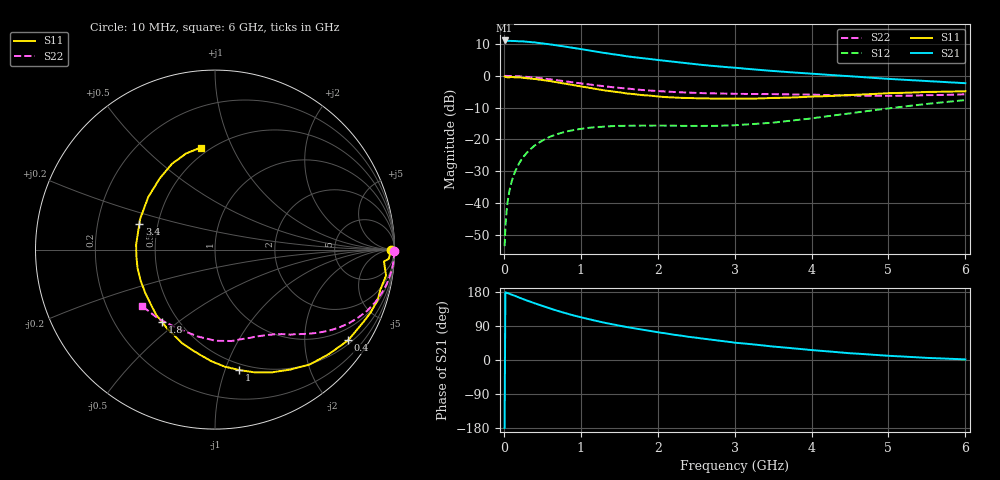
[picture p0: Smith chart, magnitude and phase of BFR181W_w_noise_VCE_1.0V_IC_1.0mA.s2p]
! Infineon Technologies  Discrete & RF Semiconductors
! BFR181W
! VCE =  1.0 V,  IC =  1.0 mA
! Common Emitter S-Parameters:  Jan 2017
# GHz  S  MA  R  50
!  f  S11  S21  S12  S22
! GHz  MAG  ANG  MAG  ANG  MAG  ANG  MAG  ANG
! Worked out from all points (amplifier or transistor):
!   77 points, 10 MHz to 6 GHz, reference 50 ohm
!   highest |S21| = 11.1 dB at 10 MHz (marker M1)
!   |S21| within 3 dB of that: start of sweep to 1.072 GHz
!   unconditionally stable (mu >= 1): 2.244 GHz to 4.932 GHz
!   at 130 MHz: K = 0.04, MSG = 21.1 dB, |S12| = -31.2 dB
!   at 2.2 GHz: K = 0.98, MSG = 10.1 dB, |S12| = -15.7 dB
!   at 6 GHz: K = 0.91, MSG = 2.7 dB, |S12| = -7.6 dB
!   lowest NFmin = 0.87 dB at 450 MHz
!   S11 on the Smith chart (normalised r, x): 10 MHz: open; 400 MHz: 0.60, -3.13; 1 GHz: 0.44, -1.12; 1.8 GHz: 0.41, -0.44; 3.4 GHz: 0.39, +0.14; 6 GHz: 0.45, +0.76
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0.01  0.981 0.0  3.609 -179.4  0.0021 85.7  1 -0.5
0.02  0.969 -3.1  3.609 178.7  0.004 93.2  1 -0.8
0.04  0.952 -3.7  3.581 177.2  0.0083 87.5  0.9985 -1.8
0.07  0.951 -5.9  3.558 174.9  0.0149 85.4  0.9964 -3.3
0.11  0.9602 -9.6  3.544 171.9  0.0235 83.9  0.9941 -5.2
0.25  0.9351 -22.1  3.491 160.8  0.0527 75.6  0.9749 -11.5
0.4  0.8973 -34.3  3.365 149.8  0.0803 67.9  0.9413 -18.0
0.6  0.8298 -50.5  3.133 136.1  0.1106 58.0  0.8832 -25.4
0.7  0.789 -57.9  3.001 129.6  0.122 54.0  0.8524 -28.7
0.8  0.7535 -65.2  2.889 123.7  0.1326 50.3  0.8216 -31.6
1  0.6837 -78.8  2.64 112.9  0.147 43.7  0.7622 -36.8
1.1  0.6536 -85.4  2.523 108.0  0.1525 41.3  0.7371 -38.9
1.4  0.572 -103.3  2.208 94.7  0.162 34.9  0.6669 -44.9
1.6  0.5294 -115.2  2.031 86.9  0.1644 32.4  0.6345 -48.3
1.8  0.4987 -126.3  1.904 80.0  0.1653 30.6  0.6004 -51.6
2.1  0.4647 -142.4  1.726 70.3  0.1651 30.0  0.5686 -56.4
2.4  0.4492 -157.4  1.572 61.3  0.1635 30.7  0.546 -61.6
3.1  0.4386 172.5  1.312 43.9  0.1706 38.1  0.5212 -72.9
3.4  0.4451 161.3  1.222 37.8  0.1804 42.2  0.5176 -78.1
4.1  0.4763 139.1  1.063 24.6  0.2229 48.4  0.5036 -91.8
5.1  0.5384 114.6  0.884 10.1  0.3186 48.0  0.4859 -118.3
6  0.5741 98.0  0.768 1.5  0.4165 40.7  0.5141 -142.5
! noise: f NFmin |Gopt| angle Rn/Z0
0.45  0.87  0.69  18  0.51
0.9  0.95  0.64  36  0.47
1.9  1.56  0.44  83  0.32
2.4  1.81  0.38  99  0.34
